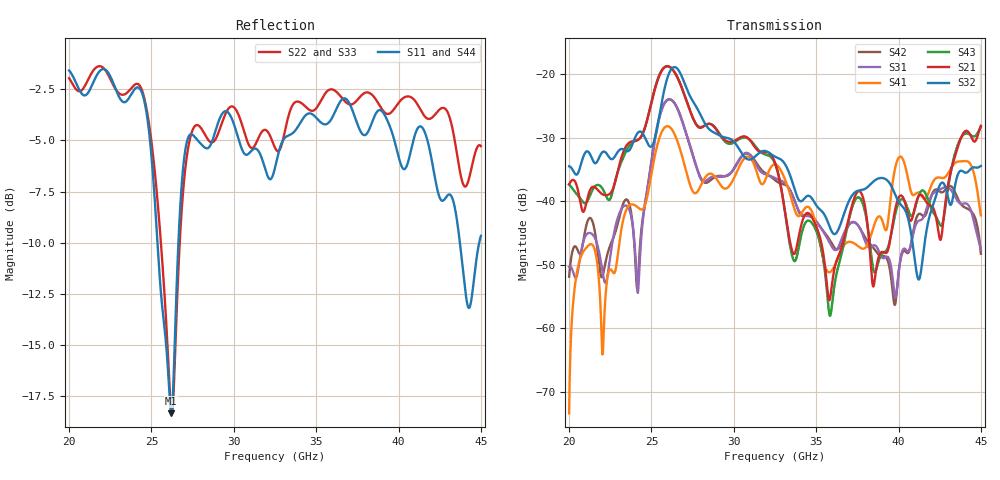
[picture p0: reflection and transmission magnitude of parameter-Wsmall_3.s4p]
! TOUCHSTONE file generated by CST MICROWAVE STUDIO
! Date and time: Sat Jun  8 01:11:37 2024
! Project name: Final_26GHz_linear.cst
! Parameters = {tand=0.0037; Connector_spacing=15.33; Coplanar_gap=0.425; Distance_inner=4.78238; Distance_outer=14.3471; L=2.6; L_pad=5; Length_strip_inner=24.3248; Length_strip_outer=27.8328; Pad_via_diameter=2.1; Pad_via_x_centre=3.75; Pad_via_z_centre=2.8; Patch_spacing=5.76524; Via_diameter=0.4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
! Header version: 2024
! Port assignment regex: !\s*Touchstone port\s*([0-9]+)\s*=\s*(CST MWS port|CST DES external port|CST DES block port)\s*(.+)\s* \(\"(.*)\"\)(\s*mode\s*([0-9]+))?.*
! Touchstone port assignment:
! Touchstone port 1 = CST MWS port 1 ("")
! Touchstone port 2 = CST MWS port 2 ("")
! Touchstone port 3 = CST MWS port 3 ("")
! Touchstone port 4 = CST MWS port 4 ("")
# GHz S MA R 50
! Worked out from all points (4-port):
!   1001 points, 20 GHz to 45 GHz, reference 50 ohm
!   strongest paths, dB at 20 GHz, 26.25 GHz, 32.5 GHz, 38.75 GHz, 45 GHz:
!     S32: -34.5, -19.0, -33.0, -36.4, -34.4
!     S21: -37.3, -19.1, -33.9, -49.2, -28.1
!     S43: -37.4, -19.1, -34.0, -49.8, -28.3
!     S41: -73.4, -28.7, -34.2, -42.5, -42.2
!     S31: -50.3, -24.1, -36.3, -47.5, -47.6
!     S42: -51.9, -24.1, -36.7, -48.3, -48.2
!   lowest |S11| = -18.4 dB at 26.2 GHz (marker M1), VSWR 1.27, Z = 62.2 + j5.95 ohm
!   |S11| at or under -10 dB: 25.36 GHz to 26.64 GHz (1.271 GHz wide, 4.89 % of centre); 43.72 GHz to 44.9 GHz (1.174 GHz wide, 2.65 % of centre)
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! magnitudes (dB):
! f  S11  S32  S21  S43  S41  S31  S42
! 20 GHz  -1.6  -34.5  -37.3  -37.4  -73.4  -50.3  -51.9
! 20.73 GHz  -2.7  -34.1  -40.7  -39.7  -48.7  -47.9  -48.0
! 22.05 GHz  -1.5  -32.2  -38.9  -38.1  -63.8  -51.5  -51.6
! 24.18 GHz  -2.4  -29.2  -30.3  -30.3  -41.0  -54.4  -52.6
! 26.2 GHz  -18.4  -19.2  -19.0  -19.0  -28.5  -24.0  -24.0
! 35.85 GHz  -4.0  -44.2  -55.2  -58.0  -51.1  -46.7  -46.2
! 45 GHz  -9.7  -34.4  -28.1  -28.3  -42.2  -47.6  -48.2
